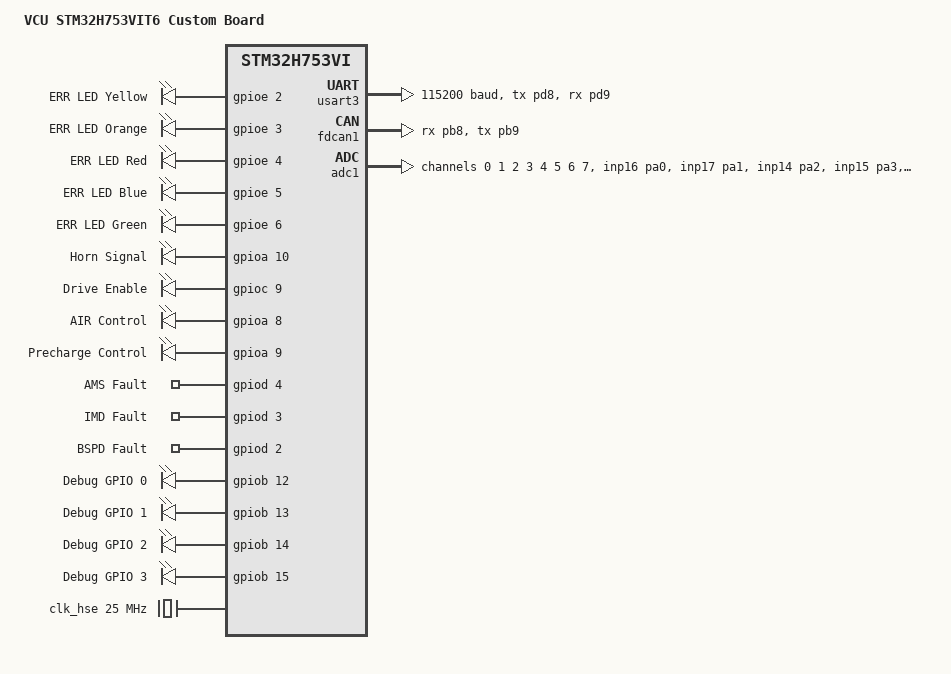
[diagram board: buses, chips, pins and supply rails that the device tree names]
/*
 * Copyright (c) 2025 VCU Team
 * SPDX-License-Identifier: Apache-2.0
 */

/dts-v1/;
#include <st/h7/stm32h753Xi.dtsi>
#include <st/h7/stm32h753zitx-pinctrl.dtsi>
#include <zephyr/dt-bindings/input/input-event-codes.h>

/ {
	model = "VCU STM32H753VIT6 Custom Board";
	compatible = "st,stm32h753vi";

	chosen {
		zephyr,console = &usart3;
		zephyr,shell-uart = &usart3;
		zephyr,sram = &sram0;
		zephyr,flash = &flash0;
		zephyr,dtcm = &dtcm;
		zephyr,canbus = &fdcan1;
	};

	leds {
		compatible = "gpio-leds";
		err_led_yellow: led_0 {
			gpios = <&gpioe 2 GPIO_ACTIVE_HIGH>;
			label = "ERR LED Yellow";
		};
		err_led_orange: led_1 {
			gpios = <&gpioe 3 GPIO_ACTIVE_HIGH>;
			label = "ERR LED Orange";
		};
		err_led_red: led_2 {
			gpios = <&gpioe 4 GPIO_ACTIVE_HIGH>;
			label = "ERR LED Red";
		};
		err_led_blue: led_3 {
			gpios = <&gpioe 5 GPIO_ACTIVE_HIGH>;
			label = "ERR LED Blue";
		};
		err_led_green: led_4 {
			gpios = <&gpioe 6 GPIO_ACTIVE_HIGH>;
			label = "ERR LED Green";
		};
	};

	vcu_signals {
		compatible = "gpio-leds";
		horn_signal: horn_sig {
			gpios = <&gpioa 10 GPIO_ACTIVE_HIGH>;
			label = "Horn Signal";
		};
		drive_enable: drive_en {
			gpios = <&gpioc 9 GPIO_ACTIVE_HIGH>;
			label = "Drive Enable";
		};
		air_ctrl: air_control {
			gpios = <&gpioa 8 GPIO_ACTIVE_HIGH>;
			label = "AIR Control";
		};
		prc_ctrl: prc_control {
			gpios = <&gpioa 9 GPIO_ACTIVE_HIGH>;
			label = "Precharge Control";
		};
	};

	fault_inputs {
		compatible = "gpio-keys";
		ams_fault: ams_fault_mcu {
			gpios = <&gpiod 4 GPIO_ACTIVE_HIGH>;
			label = "AMS Fault";
		};
		imd_fault: imd_fault_mcu {
			gpios = <&gpiod 3 GPIO_ACTIVE_HIGH>;
			label = "IMD Fault";
		};
		bspd_fault: bspd_fault_mcu {
			gpios = <&gpiod 2 GPIO_ACTIVE_HIGH>;
			label = "BSPD Fault";
		};
	};

	debug_gpios {
		compatible = "gpio-leds";
		debug_gpio_0: dbg_gpio_0 {
			gpios = <&gpiob 12 GPIO_ACTIVE_HIGH>;
			label = "Debug GPIO 0";
		};
		debug_gpio_1: dbg_gpio_1 {
			gpios = <&gpiob 13 GPIO_ACTIVE_HIGH>;
			label = "Debug GPIO 1";
		};
		debug_gpio_2: dbg_gpio_2 {
			gpios = <&gpiob 14 GPIO_ACTIVE_HIGH>;
			label = "Debug GPIO 2";
		};
		debug_gpio_3: dbg_gpio_3 {
			gpios = <&gpiob 15 GPIO_ACTIVE_HIGH>;
			label = "Debug GPIO 3";
		};
	};

	aliases {
		led0 = &err_led_yellow;
		led1 = &err_led_orange;
		led2 = &err_led_red;
		led3 = &err_led_blue;
		led4 = &err_led_green;
		horn = &horn_signal;
		drive-enable = &drive_enable;
		air-ctrl = &air_ctrl;
		prc-ctrl = &prc_ctrl;
	};
};

&clk_hse {
	clock-frequency = <DT_FREQ_M(25)>;  // 25 MHz crystal
	status = "okay";
};

&pll {
    div-m = <5>;      // 25 MHz / 5 = 5 MHz
    mul-n = <192>;    // 5 MHz × 192 = 960 MHz VCO
    div-p = <2>;      // 960 / 2 = 480 MHz
    div-q = <2>;      // 960 / 2 = 480 MHz
    div-r = <2>;      // 960 / 2 = 480 MHz
    clocks = <&clk_hse>;
    status = "okay";
};

&pll2 {
    div-m = <5>;      // 25 MHz / 5 = 5 MHz
    mul-n = <48>;     // 5 MHz × 48 = 240 MHz VCO
    div-p = <2>;      // 240 / 2 = 120 MHz
    div-q = <3>;      // 240 / 3 = 80 MHz (for FDCAN)
    div-r = <2>;      // 240 / 2 = 120 MHz
    clocks = <&clk_hse>;
    status = "okay";
};

&rcc {
    clocks = <&pll>;
    clock-frequency = <DT_FREQ_M(480)>;
    d1cpre = <1>;
    hpre = <2>;
    d1ppre = <2>;
    d2ppre1 = <2>;
    d2ppre2 = <2>;
    d3ppre = <2>;
};

/* Enable GPIO ports */
&gpioa {
	status = "okay";
};

&gpiob {
	status = "okay";
};

&gpioc {
	status = "okay";
};

&gpiod {
	status = "okay";
};

&gpioe {
	status = "okay";
};

&usart3 {
	pinctrl-0 = <&usart3_tx_pd8 &usart3_rx_pd9>;
	pinctrl-names = "default";
	current-speed = <115200>;
	status = "okay";
};

&fdcan1 {
	clocks = <&rcc STM32_CLOCK_BUS_APB1_2 0x00000100>,
		 <&rcc STM32_SRC_PLL2_Q FDCAN_SEL(2)>;
	pinctrl-0 = <&fdcan1_rx_pb8 &fdcan1_tx_pb9>;
	pinctrl-names = "default";
	status = "okay";
};

&fdcan2 {
	clocks = <&rcc STM32_CLOCK_BUS_APB1_2 0x00000200>,
		 <&rcc STM32_SRC_PLL2_Q FDCAN_SEL(2)>;
	pinctrl-0 = <&fdcan2_rx_pb5 &fdcan2_tx_pb6>;
	pinctrl-names = "default";
	status = "disabled";
};

&adc1 {
	pinctrl-0 = <&adc1_inp16_pa0 &adc1_inp17_pa1 
	             &adc1_inp14_pa2 &adc1_inp15_pa3
	             &adc1_inp18_pa4 &adc1_inp19_pa5
	             &adc1_inp3_pa6 &adc1_inp7_pa7>;
	pinctrl-names = "default";
	st,adc-clock-source = "SYNC";
	st,adc-prescaler = <4>;
	vref-mv = <3300>;
	status = "okay";

	#address-cells = <1>;
	#size-cells = <0>;

	channel@0 {
		reg = <0>;
		zephyr,gain = "ADC_GAIN_1";
		zephyr,reference = "ADC_REF_VDD_1";
		zephyr,acquisition-time = <ADC_ACQ_TIME_DEFAULT>;
		zephyr,resolution = <12>;
		zephyr,input-positive = <16>;  /* PA0 - INP16 */
	};

	channel@1 {
		reg = <1>;
		zephyr,gain = "ADC_GAIN_1";
		zephyr,reference = "ADC_REF_VDD_1";
		zephyr,acquisition-time = <ADC_ACQ_TIME_DEFAULT>;
		zephyr,resolution = <12>;
		zephyr,input-positive = <17>;  /* PA1 - INP17 */
	};

	channel@2 {
		reg = <2>;
		zephyr,gain = "ADC_GAIN_1";
		zephyr,reference = "ADC_REF_VDD_1";
		zephyr,acquisition-time = <ADC_ACQ_TIME_DEFAULT>;
		zephyr,resolution = <12>;
		zephyr,input-positive = <14>;  /* PA2 - INP14 */
	};

	channel@3 {
		reg = <3>;
		zephyr,gain = "ADC_GAIN_1";
		zephyr,reference = "ADC_REF_VDD_1";
		zephyr,acquisition-time = <ADC_ACQ_TIME_DEFAULT>;
		zephyr,resolution = <12>;
		zephyr,input-positive = <15>;  /* PA3 - INP15 */
	};

	channel@4 {
		reg = <4>;
		zephyr,gain = "ADC_GAIN_1";
		zephyr,reference = "ADC_REF_VDD_1";
		zephyr,acquisition-time = <ADC_ACQ_TIME_DEFAULT>;
		zephyr,resolution = <12>;
		zephyr,input-positive = <18>;  /* PA4 - INP18 */
	};

	channel@5 {
		reg = <5>;
		zephyr,gain = "ADC_GAIN_1";
		zephyr,reference = "ADC_REF_VDD_1";
		zephyr,acquisition-time = <ADC_ACQ_TIME_DEFAULT>;
		zephyr,resolution = <12>;
		zephyr,input-positive = <19>;  /* PA5 - INP19 */
	};

	channel@6 {
		reg = <6>;
		zephyr,gain = "ADC_GAIN_1";
		zephyr,reference = "ADC_REF_VDD_1";
		zephyr,acquisition-time = <ADC_ACQ_TIME_DEFAULT>;
		zephyr,resolution = <12>;
		zephyr,input-positive = <3>;   /* PA6 - INP3 */
	};

	channel@7 {
		reg = <7>;
		zephyr,gain = "ADC_GAIN_1";
		zephyr,reference = "ADC_REF_VDD_1";
		zephyr,acquisition-time = <ADC_ACQ_TIME_DEFAULT>;
		zephyr,resolution = <12>;
		zephyr,input-positive = <7>;   /* PA7 - INP7 */
	};
};
&pinctrl {
    adc1_inp16_pa0: adc1_inp16_pa0 {
        pinmux = <STM32_PINMUX('A', 0, ANALOG)>;
    };
    adc1_inp17_pa1: adc1_inp17_pa1 {
        pinmux = <STM32_PINMUX('A', 1, ANALOG)>;
    };
    adc1_inp14_pa2: adc1_inp14_pa2 {
        pinmux = <STM32_PINMUX('A', 2, ANALOG)>;
    };
    adc1_inp15_pa3: adc1_inp15_pa3 {
        pinmux = <STM32_PINMUX('A', 3, ANALOG)>;
    };
    adc1_inp18_pa4: adc1_inp18_pa4 {
        pinmux = <STM32_PINMUX('A', 4, ANALOG)>;
    };
    adc1_inp19_pa5: adc1_inp19_pa5 {
        pinmux = <STM32_PINMUX('A', 5, ANALOG)>;
    };
    adc1_inp3_pa6: adc1_inp3_pa6 {
        pinmux = <STM32_PINMUX('A', 6, ANALOG)>;
    };
    adc1_inp7_pa7: adc1_inp7_pa7 {
        pinmux = <STM32_PINMUX('A', 7, ANALOG)>;
    };
};

&flash0 {
	partitions {
		compatible = "fixed-partitions";
		#address-cells = <1>;
		#size-cells = <1>;

		boot_partition: partition@0 {
			label = "mcuboot";
			reg = <0x00000000 DT_SIZE_K(128)>;
		};
		slot0_partition: partition@20000 {
			label = "image-0";
			reg = <0x00020000 DT_SIZE_K(448)>;
		};
		slot1_partition: partition@90000 {
			label = "image-1";
			reg = <0x00090000 DT_SIZE_K(448)>;
		};
		storage_partition: partition@100000 {
			label = "storage";
			reg = <0x00100000 DT_SIZE_K(1024)>;
		};
	};
};


